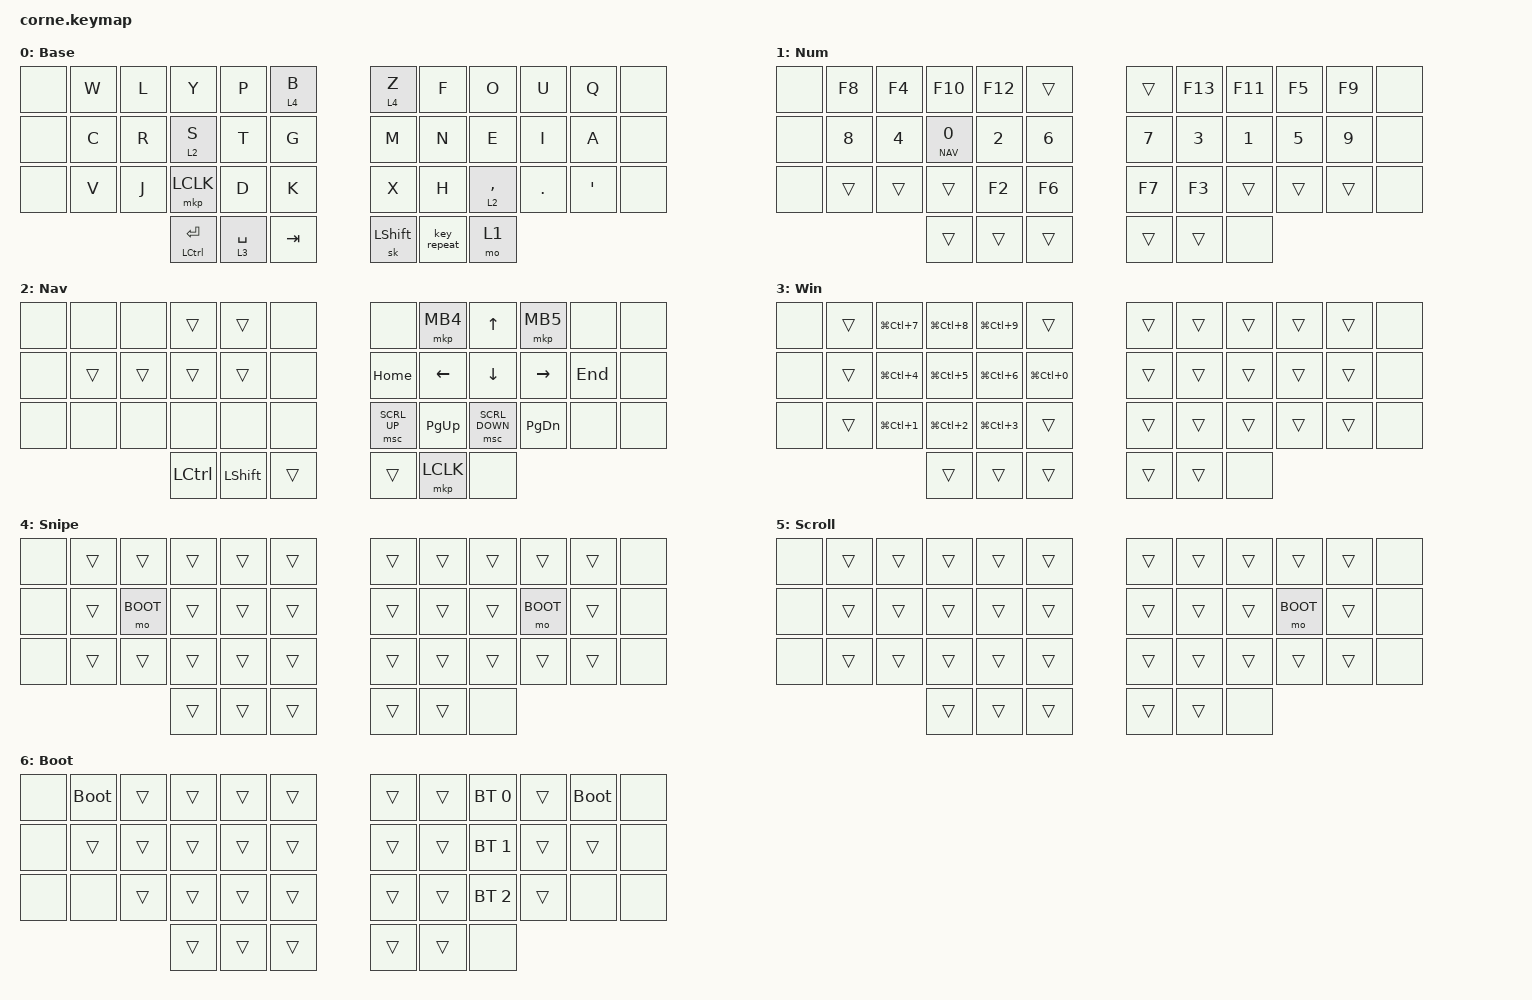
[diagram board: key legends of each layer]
/*
 * eXsoR's Charybdis Nano Keymap, ported to a 42-key Corne.
 *
 * The original is a 35-key board (5x3 + 3/2 thumbs). It is mapped onto the
 * inner five columns of each half; the outer pinky columns and the extra
 * right thumb are &none, so the board behaves like the 35-key original.
 * All combo key-positions have been renumbered for the Corne matrix below.
 *
*/
// Includes

#include <behaviors.dtsi>
#include <dt-bindings/zmk/bt.h>
#include <dt-bindings/zmk/keys.h>
#include <dt-bindings/zmk/pointing.h>

#define DEF 0
#define NUM 1
#define NAV 2
#define SWT 3
#define SNI 4
#define SCR 5
#define BOOT 6

// Layer-Tap and Mod-Tap Config Preferences

&sk { quick-release; };

&lt {
    hold-while-undecided;
    quick-tap-ms = <175>;
};

&mt {
    flavor = "tap-preferred";
    quick-tap-ms = <175>;
};

/*
 * Combos, Behaviors, and Keymap (Corne 42-key positions)
 *╭──────┬──────┬──────┬──────┬──────┬──────╮  ╭──────┬──────┬──────┬──────┬──────┬──────╮
 *   00     01     02     03     04     05        06     07     08     09     10     11
 *├──────┼──────┼──────┼──────┼──────┼──────┤  ├──────┼──────┼──────┼──────┼──────┼──────┤
 *   12     13     14     15     16     17        18     19     20     21     22     23
 *├──────┼──────┼──────┼──────┼──────┼──────┤  ├──────┼──────┼──────┼──────┼──────┼──────┤
 *   24     25     26     27     28     29        30     31     32     33     34     35
 *╰──────┴──────┴──────┼──────┼──────┼──────┤  ├──────┼──────┼──────┼──────┴──────┴──────╯
 *                        36     37     38        39     40     41
 *                     ╰──────┴──────┴──────╯  ╰──────┴──────┴──────╯
 *
 * Columns 00/12/24 and 11/23/35, plus thumb 41, do not exist on the
 * Charybdis Nano and are left as &none.
*/

/ {
    behaviors {
        /* * Smart Shift:
         * Tap for Sticky Shift, Double Tap for Caps Word
         */
        /* * Magic Thumb:
         * Tap: Repeat (or Smart Shift if pressed after a key)
         * Hold: NUM Layer
         */
        /* Optional: urob's Smart Repeat */

        back_home: back_home {
            compatible = "zmk,behavior-hold-tap";
            bindings = <&althome>, <&altleft>;

            #binding-cells = <2>;
            flavor = "balanced";
            tapping-term-ms = <200>;
        };

        keyrepeat_layernum: keyrepeat_layernum {
            compatible = "zmk,behavior-hold-tap";
            bindings = <&mo>, <&key_repeat>;

            #binding-cells = <2>;
            require-prior-idle-ms = <125>;
            flavor = "balanced";
            tapping-term-ms = <200>;
            quick-tap-ms = <150>;
        };

        switch_win_behaviour: switch_win_behaviour {
            compatible = "zmk,behavior-hold-tap";
            label = "SWITCH_WIN_BEHAVIOUR";
            bindings = <&mo>, <&kp>;

            #binding-cells = <2>;
            tapping-term-ms = <200>;
            flavor = "balanced";
            hold-while-undecided;
            quick-tap-ms = <175>;
            require-prior-idle-ms = <150>;
        };
    };

    combos {
        compatible = "zmk,combos";

        rparenth {
            bindings = <&mt RIGHT_BRACKET RIGHT_PARENTHESIS>;
            key-positions = <21 40>;
            timeout-ms = <30>;
        };

        exclai {
            bindings = <&kp EXCL>;
            key-positions = <7 19>;
            timeout-ms = <30>;
        };

        lparenth {
            bindings = <&mt LEFT_BRACKET LEFT_PARENTHESIS>;
            key-positions = <14 37>;
            timeout-ms = <30>;
        };

        copy {
            bindings = <&kp LC(C)>;
            key-positions = <14 27>;
            timeout-ms = <30>;
        };

        paste {
            bindings = <&mt LCTRL LC(V)>;
            key-positions = <16 27>;
            timeout-ms = <30>;
            require-prior-idle-ms = <180>;
        };

        semicolon {
            bindings = <&kp SEMICOLON>;
            key-positions = <22 40>;
            timeout-ms = <30>;
        };

        resetble {
            bindings = <&bt BT_CLR_ALL>;
            key-positions = <3 4 8 9 2 7 10 1>;
        };

        minus {
            bindings = <&kp MINUS>;
            key-positions = <31 33>;
            timeout-ms = <30>;
        };

        underscore {
            bindings = <&kp UNDER>;
            key-positions = <31 34>;
            timeout-ms = <30>;
        };

        stickyalt {
            bindings = <&sk LEFT_ALT>;
            key-positions = <14 15>;
            timeout-ms = <50>;
        };

        colonn {
            bindings = <&kp COLON>;
            key-positions = <19 40>;
            timeout-ms = <30>;
        };

        equal {
            bindings = <&kp EQUAL>;
            key-positions = <40 31>;
            timeout-ms = <30>;
        };

        value {
            bindings = <&value>;
            key-positions = <25 26>;
            timeout-ms = <30>;
        };

        statementcombo {
            bindings = <&statement>;
            key-positions = <31 32 33>;
            timeout-ms = <30>;
        };

        backspaced {
            bindings = <&kp BACKSPACE>;
            key-positions = <19 31>;
            timeout-ms = <25>;
        };

        plus {
            bindings = <&kp PLUS>;
            key-positions = <27 15>;
            timeout-ms = <30>;
        };

        insert {
            bindings = <&kp INSERT>;
            key-positions = <2 14>;
            timeout-ms = <30>;
        };

        redo {
            bindings = <&kp LC(Y)>;
            key-positions = <3 2>;
            timeout-ms = <30>;
        };

        undo {
            bindings = <&kp LC(Z)>;
            key-positions = <4 3>;
            timeout-ms = <30>;
        };

        calc_rel {
            bindings = <&mt LC(R) LC(D)>;
            key-positions = <3 14>;
            timeout-ms = <30>;
            require-prior-idle-ms = <180>;
        };

        focus {
            bindings = <&kp LC(E)>;
            key-positions = <3 16>;
            timeout-ms = <30>;
        };

        at {
            bindings = <&mt HASH AT>;
            key-positions = <31 20 33>;
            timeout-ms = <30>;
        };

        window {
            bindings = <&sk LEFT_GUI>;
            key-positions = <26 27 28 37>;
            timeout-ms = <50>;
        };

        types {
            bindings = <&altzero>;
            key-positions = <3 15>;
            timeout-ms = <30>;
        };

        printscreen {
            bindings = <&kp LG(LS(S))>;
            key-positions = <2 4>;
        };

        grave {
            bindings = <&kp GRAVE>;
            key-positions = <13 1>;
            timeout-ms = <30>;
        };

        question {
            bindings = <&kp QUESTION>;
            key-positions = <20 33>;
            timeout-ms = <30>;
        };

        altlefthome {
            bindings = <&back_home 0 0>;
            key-positions = <16 28>;
            timeout-ms = <30>;
        };

        doublequote {
            bindings = <&kp DOUBLE_QUOTES>;
            key-positions = <33 32>;
            timeout-ms = <30>;
        };

        backslash {
            bindings = <&kp BACKSLASH>;
            key-positions = <15 28 2>;
            timeout-ms = <30>;
        };

        newmacron {
            bindings = <&new_macro>;
            key-positions = <20 21 33 32>;
        };

        sloganize {
            bindings = <&slogan>;
            key-positions = <15 16 28 27>;
        };

        academy {
            bindings = <&repand>;
            key-positions = <14 15 27 26>;
        };

        cut {
            bindings = <&kp LC(X)>;
            key-positions = <16 13>;
            timeout-ms = <30>;
        };

        doubleclick {
            bindings = <&doubleclick>;
            key-positions = <27 26>;
            timeout-ms = <45>;
            require-prior-idle-ms = <200>;
        };

        delete {
            bindings = <&kp DELETE>;
            key-positions = <17 29>;
            timeout-ms = <30>;
        };

        ctrlf4 {
            bindings = <&kp LC(F4)>;
            key-positions = <3 4 2>;
        };

        backcomb {
            bindings = <&mkp MB4>;
            key-positions = <40 32>;
            timeout-ms = <30>;
        };

        forwardcomb {
            bindings = <&mkp MB5>;
            key-positions = <33 40>;
            timeout-ms = <30>;
        };

        escape {
            bindings = <&kp ESCAPE>;
            key-positions = <20 21>;
            timeout-ms = <25>;
            require-prior-idle-ms = <500>;
        };

        curlyleft {
            bindings = <&kp LS(LEFT_BRACKET)>;
            key-positions = <14 15 37>;
        };

        curlyright {
            bindings = <&kp LS(RIGHT_BRACKET)>;
            key-positions = <20 21 40>;
        };

        clearformat {
            bindings = <&formatctrlspace>;
            key-positions = <14 28>;
            timeout-ms = <30>;
        };

        controltabright {
            bindings = <&kp LC(TAB)>;
            key-positions = <5 17>;
            timeout-ms = <30>;
            require-prior-idle-ms = <500>;
        };

        contextmernu {
            bindings = <&kp K_CONTEXT_MENU>;
            key-positions = <27 28>;
            timeout-ms = <30>;
        };

        pipes {
            bindings = <&kp PIPE>;
            key-positions = <10 22>;
            timeout-ms = <30>;
        };

        controltableft {
            bindings = <&kp LC(LS(TAB))>;
            key-positions = <4 16>;
            timeout-ms = <30>;
            require-prior-idle-ms = <500>;
        };

        star {
            bindings = <&kp STAR>;
            key-positions = <18 30>;
        };

        lessthan {
            bindings = <&kp LESS_THAN>;
            key-positions = <29 16>;
        };

        morethan {
            bindings = <&kp GREATER_THAN>;
            key-positions = <30 19>;
        };

        hash {
            bindings = <&kp HASH>;
            key-positions = <33 21>;
        };

        slashe {
            bindings = <&kp SLASH>;
            key-positions = <32 21>;
        };

        bsp {
            bindings = <&kp LC(BACKSPACE)>;
            key-positions = <32 31>;
        };

        ctrlship {
            bindings = <&kp LC(LEFT_SHIFT)>;
            key-positions = <37 38>;
        };

        selectall {
            bindings = <&kp LC(A)>;
            key-positions = <27 26 28>;
        };
    };

    macros {
        info: info {
            compatible = "zmk,behavior-macro";
            #binding-cells = <0>;
            bindings = <&kp I &kp N &kp F &kp O &kp LPAR &kp SQT &kp FSLH &kp FSLH &kp SQT &kp RPAR &kp LEFT>;
        };

        statement: statement {
            compatible = "zmk,behavior-macro";
            #binding-cells = <0>;
            bindings = <&kp RET &kp LEFT_BRACE &kp RET &kp RBRC &kp UP_ARROW &kp ENTER>;
        };

        value: value {
            compatible = "zmk,behavior-macro";
            #binding-cells = <0>;
            bindings = <&kp LS(V) &kp LS(A) &kp LS(L) &kp LS(U) &kp LS(E) &kp LPAR &kp O &kp B &kp J &kp E &kp C &kp T>;
            wait-ms = <50>;
        };

        slogan: slogan {
            compatible = "zmk,behavior-macro";
            #binding-cells = <0>;
            bindings = <&kp LS(J) &kp A &kp N &kp G &kp A &kp N &kp LS(C) &kp O &kp N &kp S &kp O &kp O &kp M &kp N4 &kp LS(H) &kp A &kp P &kp P &kp I &kp N &kp E &kp S &kp S &kp LS(K) &kp A &kp N &kp QMARK>;
        };

        repand: repand {
            compatible = "zmk,behavior-macro";
            #binding-cells = <0>;
            bindings = <&kp LS(S) &kp Y &kp N &kp C &kp H &kp R &kp O &kp N &kp I &kp Z &kp E &kp U &kp P &kp G &kp R &kp A &kp D &kp E &kp A &kp B &kp I &kp L &kp I &kp T &kp Y &kp DLLR &kp PRCNT &kp CARET &kp PLUS>;
        };

        altone: altone {
            compatible = "zmk,behavior-macro";
            #binding-cells = <0>;
            bindings = <&sk LEFT_ALT &kp NUMBER_1>;
            wait-ms = <50>;
        };

        altzero: altzero {
            compatible = "zmk,behavior-macro";
            #binding-cells = <0>;
            bindings = <&sk LEFT_ALT &kp NUMBER_0>;
            wait-ms = <50>;
        };

        althome: althome {
            compatible = "zmk,behavior-macro";
            #binding-cells = <0>;
            bindings = <&sk LEFT_ALT &kp HOME>;
        };

        altleft: altleft {
            compatible = "zmk,behavior-macro";
            #binding-cells = <0>;
            bindings = <&sk LEFT_ALT &kp LEFT>;
        };

        formatctrlspace: formatctrlspace {
            compatible = "zmk,behavior-macro";
            #binding-cells = <0>;
            bindings = <&sk LCTRL &kp SPACE>;
        };

        alt_wait_tab: alt_wait_tab {
            compatible = "zmk,behavior-macro";
            #binding-cells = <0>;
            bindings = <&sk LEFT_ALT &kp TAB>;
            wait-ms = <50>;
        };

        to_base_escape: to_base_escape {
            compatible = "zmk,behavior-macro";
            #binding-cells = <0>;
            bindings = <&to DEF &kp ESCAPE>;
        };

        new_macro: new_macro {
            compatible = "zmk,behavior-macro";
            #binding-cells = <0>;
            bindings = <&kp N4 &kp S &kp LS(R) &kp LS(Z) &kp Q &kp LS(R) &kp N7 &kp N9 &kp D &kp O &kp H &kp T &kp N5 &kp N &kp LS(H) &kp U &kp W &kp LS(I) &kp F &kp O &kp LS(D) &kp T &kp LS(B) &kp P &kp LS(N) &kp G &kp B &kp LS(M) &kp Q &kp LS(P) &kp Z &kp P &kp R &kp LS(N) &kp S &kp LS(E) &kp LS(V) &kp H &kp LS(A) &kp H &kp E &kp N1 &kp LS(N) &kp R &kp N4 &kp P &kp Z &kp LS(V) &kp A &kp T &kp LS(A) &kp LS(F) &kp LS(J) &kp LS(Q) &kp LS(Q) &kp LS(J) &kp N9 &kp N9 &kp LS(C) &kp LS(E) &kp LS(A) &kp LS(C) &kp LS(A) &kp LS(A) &kp LS(A) &kp LS(A) &kp LS(A) &kp LS(I) &kp LS(A) &kp LS(Y) &kp N &kp LS(K) &kp LS(A) &kp LS(A) &kp LS(A) &kp LS(S) &kp LS(A) &kp LS(Z) &kp LS(D) &kp LS(O) &kp Y &kp LS(E) &kp A &kp P>;
            label = "NEW_MACRO";
        };

        doubleclick: doubleclick {
            compatible = "zmk,behavior-macro";
            #binding-cells = <0>;
            bindings = <&mkp LCLK &mkp LCLK>;
            label = "DOUBLECLICK";
        };

        new_macro_gt: new_macro_g {
            compatible = "zmk,behavior-macro";
            #binding-cells = <0>;
            bindings = <&kp UNDER &kp P &kp A &kp T &kp UNDER &kp N1 &kp N1 &kp LS(A) &kp LS(A) &kp N4 &kp LS(E) &kp LS(Z) &kp LS(S) &kp LS(Q) &kp N0 &kp LS(I) &kp N4 &kp LS(K) &kp M &kp L &kp LS(J) &kp LS(T) &kp LS(D) &kp L &kp N5 &kp LS(T) &kp M &kp UNDER &kp LS(Y) &kp N8 &kp H &kp Y &kp F &kp LS(M) &kp LS(C) &kp O &kp N7 &kp T &kp N4 &kp V &kp N9 &kp N6 &kp N &kp N6 &kp LS(V) &kp H &kp LS(L) &kp LS(Q) &kp LS(L) &kp LS(X) &kp LS(Y) &kp LS(V) &kp O &kp I &kp LS(F) &kp LS(R) &kp G &kp N9 &kp G &kp LS(U) &kp LS(P) &kp LS(X) &kp W &kp M &kp N0 &kp LS(U) &kp Z &kp LS(I) &kp LS(N) &kp N4 &kp B &kp LS(W) &kp LS(B) &kp N4 &kp LS(A) &kp LS(T) &kp LS(E) &kp LS(L) &kp N7 &kp LS(K) &kp L &kp LS(E) &kp T &kp N &kp K &kp LS(S) &kp LS(Z)>;
            label = "NEW_MACRO_G";
        };
    };

    keymap {
        compatible = "zmk,keymap";

        default_layer {
            display-name = "Base";
            bindings = <
&none  &kp W  &kp L  &kp Y            &kp P                          &lt 4 B    &lt 4 Z         &kp F        &kp O        &kp U       &kp Q     &none
&none  &kp C  &kp R  &lt 2 S          &kp T                          &kp G      &kp M           &kp N        &kp E        &kp I       &kp A     &none
&none  &kp V  &kp J  &mkp LCLK        &kp D                          &kp K      &kp X           &kp H        &lt 2 COMMA  &kp PERIOD  &kp APOS  &none
                     &mt LCTRL ENTER  &switch_win_behaviour 3 SPACE  &kp TAB    &sk LEFT_SHIFT  &key_repeat  &mo 1
            >;
        };

        num_layer {
            display-name = "Num";
            bindings = <
&none  &kp F8  &kp F4        &kp F10     &kp F12       &trans          &trans  &kp F13       &kp F11       &kp F5  &kp F9  &none
&none  &kp N8  &kp NUMBER_4  &lt NAV N0  &kp NUMBER_2  &kp NUMBER_6    &kp N7  &kp NUMBER_3  &kp NUMBER_1  &kp N5  &kp N9  &none
&none  &trans  &trans        &trans      &kp F2        &kp F6          &kp F7  &kp F3        &trans        &trans  &trans  &none
                             &trans      &trans        &trans          &trans  &trans        &none
            >;
        };

        nav_layer {
            display-name = "Nav";
            bindings = <
&none  &none   &none   &trans     &trans          &none     &none         &mkp MB4        &kp UP_ARROW    &mkp MB5       &none    &none
&none  &trans  &trans  &trans     &trans          &none     &kp HOME      &kp LEFT_ARROW  &kp DOWN        &kp RIGHT      &kp END  &none
&none  &none   &none   &none      &none           &none     &msc SCRL_UP  &kp PAGE_UP     &msc SCRL_DOWN  &kp PAGE_DOWN  &none    &none
                       &kp LCTRL  &kp LEFT_SHIFT  &trans    &trans        &mkp LCLK       &none
            >;
        };

        switchwin_layer {
            display-name = "Win";
            bindings = <
&none  &trans  &kp LG(LC(N7))        &kp LG(LC(N8))        &kp LG(LC(N9))        &trans            &trans  &trans  &trans  &trans  &trans  &none
&none  &trans  &kp LG(LC(NUMBER_4))  &kp LG(LC(N5))        &kp LG(LC(NUMBER_6))  &kp LG(LC(N0))    &trans  &trans  &trans  &trans  &trans  &none
&none  &trans  &kp LG(LC(NUMBER_1))  &kp LG(LC(NUMBER_2))  &kp LG(LC(NUMBER_3))  &trans            &trans  &trans  &trans  &trans  &trans  &none
                                     &trans                &trans                &trans            &trans  &trans  &none
            >;
        };

        snipe_layer {
            display-name = "Snipe";
            bindings = <
&none  &trans  &trans    &trans  &trans  &trans    &trans  &trans  &trans  &trans    &trans  &none
&none  &trans  &mo BOOT  &trans  &trans  &trans    &trans  &trans  &trans  &mo BOOT  &trans  &none
&none  &trans  &trans    &trans  &trans  &trans    &trans  &trans  &trans  &trans    &trans  &none
                         &trans  &trans  &trans    &trans  &trans  &none
            >;
        };

        scroll_layer {
            display-name = "Scroll";
            bindings = <
&none  &trans  &trans  &trans  &trans  &trans    &trans  &trans  &trans  &trans    &trans  &none
&none  &trans  &trans  &trans  &trans  &trans    &trans  &trans  &trans  &mo BOOT  &trans  &none
&none  &trans  &trans  &trans  &trans  &trans    &trans  &trans  &trans  &trans    &trans  &none
                       &trans  &trans  &trans    &trans  &trans  &none
            >;
        };

        bootloader_layer {
            display-name = "Boot";
            bindings = <
&none  &bootloader  &trans  &trans  &trans  &trans    &trans  &trans  &bt BT_SEL 0  &trans  &bootloader  &none
&none  &trans       &trans  &trans  &trans  &trans    &trans  &trans  &bt BT_SEL 1  &trans  &trans       &none
&none  &none        &trans  &trans  &trans  &trans    &trans  &trans  &bt BT_SEL 2  &trans  &none        &none
                            &trans  &trans  &trans    &trans  &trans  &none
            >;
        };
    };
};
